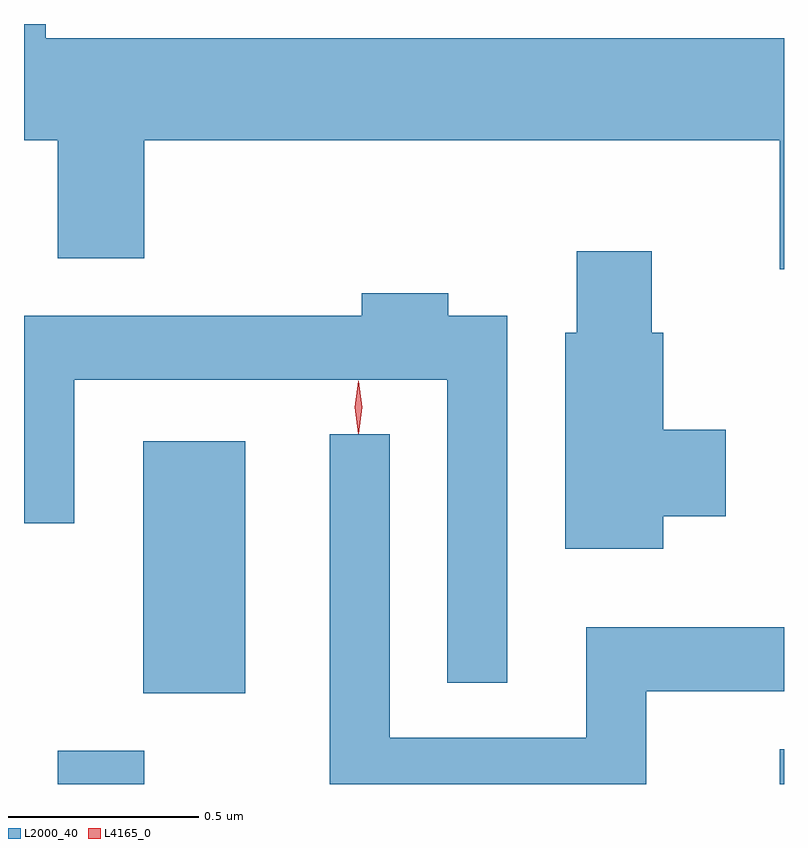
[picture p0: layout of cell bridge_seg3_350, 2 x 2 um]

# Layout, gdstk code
import gdstk
lib = gdstk.Library(unit=1e-6, precision=1e-09)
def R(c, l, rs):  # rectangles x0, y0, x1, y1
    for r in rs: c.add(gdstk.rectangle(r[:2], r[2:], *l))
def P(c, l, *ps):  # polygons
    for p in ps: c.add(gdstk.Polygon(p, *l))
L2000_40 = (2000, 40)
L4165_0 = (4165, 0)

bridge_seg3_350 = lib.new_cell('bridge_seg3_350')
R(bridge_seg3_350, L2000_40, [(578.381,1124.322,578.609,1124.409), (580.281,1124.322,580.292,1124.414), (578.606,1124.561,578.874,1125.224)])
P(bridge_seg3_350, L2000_40, [(580.292,1126.284),(578.349,1126.284),(578.349,1126.322),(578.292,1126.322),(578.292,1126.016),(578.381,1126.016),(578.381,1125.706),(578.609,1125.706),(578.609,1126.016),(580.281,1126.016),(580.281,1125.676),(580.292,1125.676)],
  [(579.974,1125.026),(580.139,1125.026),(580.139,1125.254),(579.974,1125.254),(579.974,1125.509),(579.944,1125.509),(579.944,1125.724),(579.746,1125.724),(579.746,1125.509),(579.716,1125.509),(579.716,1124.941),(579.974,1124.941)],
  [(579.564,1125.554),(579.409,1125.554),(579.409,1125.614),(579.181,1125.614),(579.181,1125.554),(578.292,1125.554),(578.292,1125.008),(578.424,1125.008),(578.424,1125.386),(579.406,1125.386),(579.406,1124.588),(579.564,1124.588)],
  [(579.929,1124.566),(580.292,1124.566),(580.292,1124.734),(579.771,1124.734),(579.771,1124.444),(579.254,1124.444),(579.254,1125.243),(579.096,1125.243),(579.096,1124.322),(579.929,1124.322)])
P(bridge_seg3_350, L4165_0, [(579.172,1125.244),(579.172,1125.244),(579.162,1125.313),(579.172,1125.382),(579.172,1125.383),(579.173,1125.382),(579.182,1125.313),(579.173,1125.244)])

lib.write_gds('bridge_seg3_350.gds')
